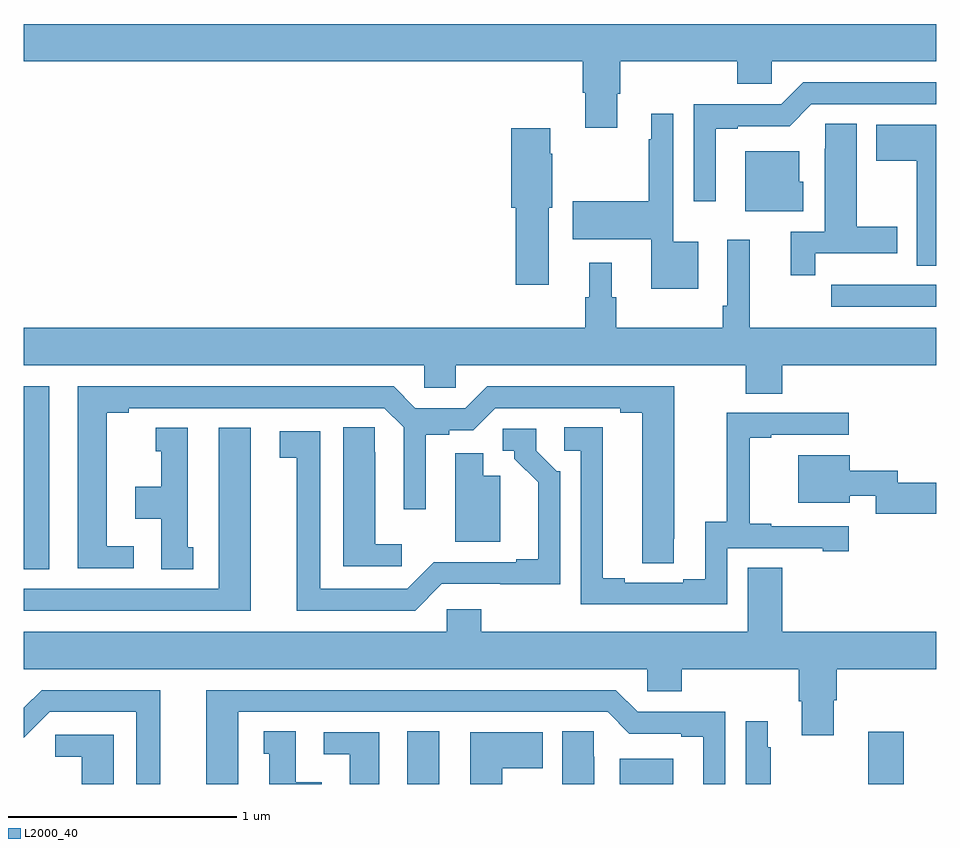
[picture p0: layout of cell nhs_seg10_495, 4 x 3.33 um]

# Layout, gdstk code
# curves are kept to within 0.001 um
import gdstk
lib = gdstk.Library(unit=1e-6, precision=1e-09)
def R(c, l, rs):  # rectangles x0, y0, x1, y1
    for r in rs: c.add(gdstk.rectangle(r[:2], r[2:], *l))
def P(c, l, *ps):  # polygons
    for p in ps: c.add(gdstk.Polygon(p, *l))
L2000_40 = (2000, 40)

nhs_seg10_495 = lib.new_cell('nhs_seg10_495')
R(nhs_seg10_495, L2000_40, [(136.682,1278.5,136.822,1278.731), (137.612,1278.5,137.848,1278.61), (138.703,1278.5,138.857,1278.73), (135,1279.441,135.112,1280.244)])
P(nhs_seg10_495, L2000_40, [(137.602,1281.526),(137.615,1281.526),(137.615,1281.668),(138.128,1281.668),(138.128,1281.57),(138.279,1281.57),(138.279,1281.668),(139,1281.668),(139,1281.832),(135,1281.832),(135,1281.668),(137.45,1281.668),(137.45,1281.531),(137.462,1281.531),(137.462,1281.378),(137.602,1281.378)],
  [(138.034,1281.372),(138.13,1281.372),(138.13,1281.384),(138.357,1281.384),(138.453,1281.48),(139,1281.48),(139,1281.576),(138.417,1281.576),(138.321,1281.48),(137.937,1281.48),(137.937,1281.054),(138.034,1281.054)],
  [(137.956,1280.878),(137.847,1280.878),(137.847,1281.439),(137.75,1281.439),(137.75,1281.326),(137.739,1281.326),(137.739,1281.054),(137.406,1281.054),(137.406,1280.888),(137.75,1280.888),(137.75,1280.672),(137.956,1280.672)],
  [(138.47,1280.826),(138.829,1280.826),(138.829,1280.943),(138.652,1280.943),(138.652,1281.395),(138.513,1281.395),(138.513,1281.284),(138.512,1281.284),(138.512,1280.922),(138.362,1280.922),(138.362,1280.73),(138.47,1280.73)],
  [(139,1281.391),(138.737,1281.391),(138.737,1281.232),(138.914,1281.232),(138.914,1280.773),(139,1280.773)],
  [(137.302,1281.027),(137.316,1281.027),(137.316,1281.263),(137.308,1281.263),(137.308,1281.376),(137.138,1281.376),(137.138,1281.027),(137.156,1281.027),(137.156,1280.688),(137.302,1280.688)],
  [(138.418,1281.141),(138.4,1281.141),(138.4,1281.274),(138.164,1281.274),(138.164,1281.011),(138.418,1281.011)],
  [(138.326,1280.336),(139,1280.336),(139,1280.5),(138.182,1280.5),(138.182,1280.887),(138.084,1280.887),(138.084,1280.596),(138.064,1280.596),(138.064,1280.5),(137.597,1280.5),(137.597,1280.634),(137.578,1280.634),(137.578,1280.785),(137.48,1280.785),(137.48,1280.634),(137.461,1280.634),(137.461,1280.5),(135,1280.5),(135,1280.336),(136.755,1280.336),(136.755,1280.238),(136.893,1280.238),(136.893,1280.336),(138.166,1280.336),(138.166,1280.212),(138.326,1280.212)],
  [(139,1280.688),(138.818,1280.688),(138.818,1280.689),(138.652,1280.689),(138.652,1280.688),(138.54,1280.688),(138.54,1280.592),(139,1280.592)],
  [(135.481,1279.542),(135.364,1279.542),(135.364,1280.128),(135.46,1280.128),(135.46,1280.148),(136.581,1280.148),(136.665,1280.064),(136.665,1279.704),(136.762,1279.704),(136.762,1280.032),(136.866,1280.032),(136.866,1280.052),(136.971,1280.052),(137.067,1280.148),(137.615,1280.148),(137.615,1280.128),(137.711,1280.128),(137.711,1279.468),(137.85,1279.468),(137.851,1280.244),(137.031,1280.244),(136.935,1280.148),(136.717,1280.148),(136.621,1280.244),(135.236,1280.244),(135.236,1279.446),(135.481,1279.446)],
  [(138.084,1279.533),(138.503,1279.533),(138.503,1279.521),(138.616,1279.521),(138.616,1279.629),(138.277,1279.629),(138.277,1279.642),(138.182,1279.642),(138.182,1280.019),(138.277,1280.019),(138.277,1280.031),(138.616,1280.031),(138.616,1280.127),(138.082,1280.127),(138.082,1279.649),(137.987,1279.649),(137.987,1279.398),(137.891,1279.398),(137.891,1279.383),(137.635,1279.383),(137.635,1279.403),(137.539,1279.403),(137.539,1280.063),(137.37,1280.063),(137.37,1279.962),(137.442,1279.962),(137.442,1279.287),(138.084,1279.287)],
  [(136.657,1279.552),(136.54,1279.552),(136.54,1279.955),(136.539,1279.955),(136.539,1280.063),(136.4,1280.063),(136.4,1279.455),(136.657,1279.455)],
  [(135.994,1280.062),(135.854,1280.062),(135.854,1279.356),(135,1279.356),(135,1279.26),(135.994,1279.26)],
  [(135.742,1279.539),(135.718,1279.539),(135.718,1280.062),(135.578,1280.062),(135.578,1279.959),(135.602,1279.959),(135.602,1279.804),(135.488,1279.804),(135.488,1279.664),(135.602,1279.664),(135.602,1279.441),(135.742,1279.441)],
  [(136.833,1279.377),(137.352,1279.376),(137.352,1279.872),(137.337,1279.872),(137.247,1279.962),(137.247,1280.058),(137.1,1280.058),(137.1,1279.962),(137.15,1279.962),(137.15,1279.927),(137.255,1279.822),(137.255,1279.486),(137.159,1279.486),(137.159,1279.473),(136.797,1279.473),(136.68,1279.356),(136.3,1279.356),(136.3,1280.046),(136.122,1280.046),(136.122,1279.93),(136.196,1279.93),(136.196,1279.26),(136.716,1279.26)],
  [(137.089,1279.852),(137.014,1279.852),(137.014,1279.951),(136.892,1279.951),(136.892,1279.562),(137.089,1279.562)],
  [(139,1279.82),(138.831,1279.82),(138.831,1279.873),(138.622,1279.873),(138.622,1279.942),(138.395,1279.942),(138.395,1279.733),(138.622,1279.733),(138.622,1279.763),(138.735,1279.763),(138.735,1279.684),(139,1279.684)],
  [(138.55,1278.867),(138.563,1278.867),(138.563,1279.004),(139,1279.004),(139,1279.168),(138.326,1279.168),(138.326,1279.448),(138.173,1279.448),(138.173,1279.168),(137.006,1279.168),(137.006,1279.266),(136.854,1279.266),(136.854,1279.168),(135,1279.168),(135,1279.004),(137.733,1279.004),(137.733,1278.906),(137.885,1278.906),(137.885,1279.004),(138.398,1279.004),(138.398,1278.862),(138.41,1278.862),(138.41,1278.714),(138.55,1278.714)],
  [(135.598,1278.912),(135.078,1278.912),(135,1278.834),(135,1278.702),(135.114,1278.816),(135.494,1278.816),(135.494,1278.5),(135.598,1278.5)],
  [(135.94,1278.816),(137.559,1278.816),(137.655,1278.72),(137.882,1278.72),(137.882,1278.708),(137.978,1278.708),(137.978,1278.5),(138.075,1278.5),(138.075,1278.816),(137.691,1278.816),(137.595,1278.912),(135.8,1278.912),(135.8,1278.5),(135.94,1278.5)],
  [(138.274,1278.662),(138.262,1278.662),(138.262,1278.775),(138.165,1278.775),(138.165,1278.5),(138.274,1278.5)],
  [(137.5,1278.62),(137.499,1278.62),(137.499,1278.731),(137.36,1278.731),(137.36,1278.5),(137.5,1278.5)],
  [(136.306,1278.508),(136.192,1278.508),(136.192,1278.731),(136.052,1278.731),(136.052,1278.633),(136.076,1278.633),(136.076,1278.5),(136.306,1278.5)],
  [(137.098,1278.568),(137.275,1278.568),(137.275,1278.727),(136.958,1278.727),(136.958,1278.5),(137.098,1278.5)],
  [(136.558,1278.726),(136.314,1278.726),(136.314,1278.63),(136.43,1278.63),(136.43,1278.5),(136.558,1278.5)],
  [(135.394,1278.717),(135.138,1278.717),(135.138,1278.62),(135.254,1278.62),(135.254,1278.5),(135.394,1278.5)])

lib.write_gds('nhs_seg10_495.gds')
